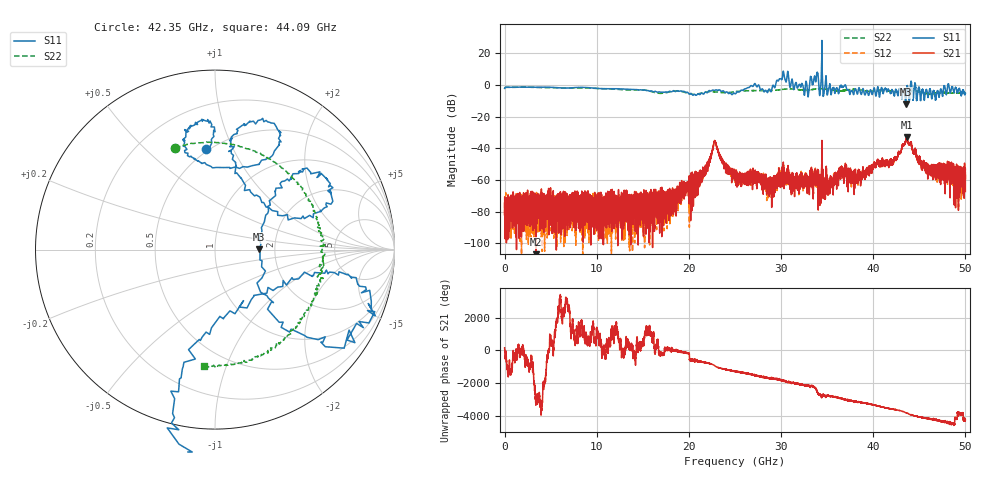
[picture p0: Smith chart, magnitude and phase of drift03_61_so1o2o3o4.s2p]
!Created with skrf (http://scikit-rf.org).
# Hz S RI R 50.0
!freq ReS11 ImS11 ReS21 ImS21 ReS12 ImS12 ReS22 ImS22
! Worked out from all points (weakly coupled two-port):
!   10000 points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, 5.3 MHz to 50 GHz, reference 50 ohm
!   highest |S21| = -33.04 dB at 43.64 GHz (marker M1); lowest = -107.8 dB at 3.405 GHz (marker M2)
!   lowest |S11| = -12.2 dB at 43.52 GHz (marker M3), VSWR 1.65, Z = 82.7 + j0.391 ohm
!   |S11| at or under -10 dB: 43.48487 GHz to 43.55693 GHz (72.06 MHz wide, 0.166 % of centre)
!   |S22| runs from -5.9 to -1.3 dB; largest |S21 - S12| = 0.013
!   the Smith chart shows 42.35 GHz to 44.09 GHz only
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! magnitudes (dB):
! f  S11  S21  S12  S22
! 5.3 MHz  -2.1  -74.5  -82.7  -2.1
! 3.405 GHz  -1.4  -107.8  -77.2  -1.5
! 8.34 GHz  -1.5  -75.0  -75.2  -1.9
! 16.67 GHz  -4.4  -75.2  -78.2  -5.2
! 21.21 GHz  -6.0  -58.5  -57.6  -5.3
! 22.82 GHz  -3.4  -35.2  -35.2  -4.5
! 25.01 GHz  -5.5  -56.5  -54.9  -4.3
! 27.01 GHz  -0.5  -55.3  -55.9  -3.5
! 28.96 GHz  -3.6  -67.0  -62.1  -3.4
! 30.14 GHz  4.4  -55.2  -57.2  -2.8
! 32.74 GHz  2.1  -59.7  -61.5  -3.4
! 33.34 GHz  2.6  -58.3  -57.2  -2.9
! 33.82 GHz  4.0  -58.2  -62.1  -2.6
! 34.88 GHz  5.9  -54.9  -60.8  -2.4
! 36.49 GHz  -0.5  -55.2  -56.5  -3.6
! 38.09 GHz  -2.6  -58.5  -55.8  -2.8
! 41.67 GHz  -2.9  -49.9  -50.2  -3.7
! 43.52 GHz  -12.2  -35.0  -35.3  -4.3
! 43.64 GHz  -2.0  -33.0  -33.3  -4.0
! 46.29 GHz  -6.0  -55.4  -53.3  -5.5
! 49.5 GHz  -5.8  -52.7  -62.3  -5.1
! 50 GHz  -5.3  -67.2  -56.8  -5.0
